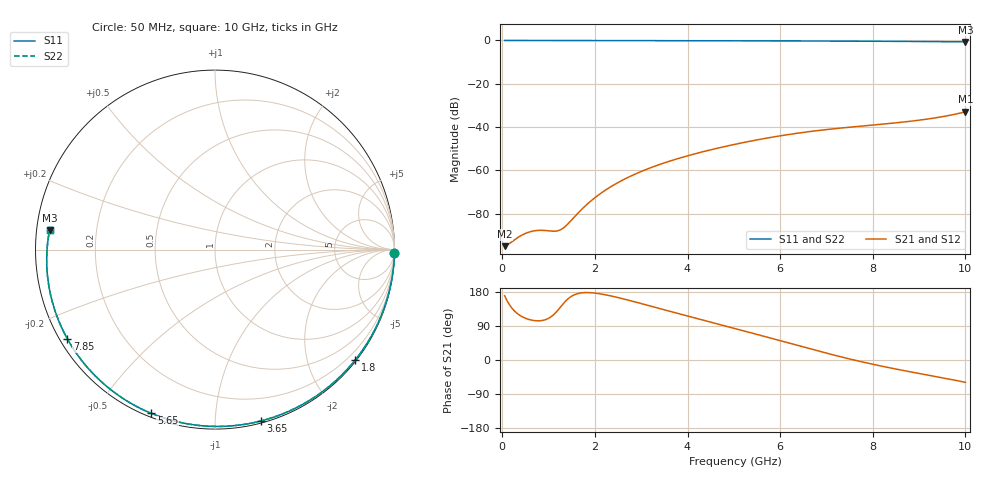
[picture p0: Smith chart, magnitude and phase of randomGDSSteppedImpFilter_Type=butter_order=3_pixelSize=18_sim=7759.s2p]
! freq	dB(S11)	phase(S11)	dB(S12)	phase(S12)
!  dB(S21)	phase(S21)	dB(S22)	phase(S22)
!S-par simulation data
#  GHz  S  DB  R 50
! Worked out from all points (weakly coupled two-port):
!   200 points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, 50 MHz to 10 GHz, reference 50 ohm
!   highest |S21| = -32.93 dB at 10 GHz (marker M1); lowest = -95.0 dB at 50 MHz (marker M2)
!   lowest |S11| = -0.7 dB at 10 GHz (marker M3), VSWR 26.68, Z = 1.88 + j2.96 ohm
!   |S11| at or under -10 dB: nowhere
!   |S22| runs from -0.7 to 0.0 dB; largest |S21 - S12| = 0
!   S11 on the Smith chart (normalised r, x): 50 MHz: open; 1.8 GHz: 0.03, -2.89; 3.65 GHz: 0.02, -1.30; 5.65 GHz: 0.02, -0.68; 7.85 GHz: 0.02, -0.28; 10 GHz: 0.04, +0.06
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0.05  -0.00 -1.1  -94.95 169.6  -94.95 169.6  -0.00 -1.1
0.8  -0.02 -17.2  -87.64 103.4  -87.64 103.4  -0.02 -17.2
1.6  -0.04 -34.1  -80.48 174.1  -80.48 174.1  -0.04 -34.1
1.65  -0.04 -35.1  -79.35 175.8  -79.35 175.8  -0.04 -35.1
1.75  -0.05 -37.2  -77.22 177.6  -77.22 177.6  -0.05 -37.2
1.8  -0.05 -38.2  -76.21 177.9  -76.21 177.9  -0.05 -38.2
1.95  -0.05 -41.3  -73.43 177.2  -73.43 177.2  -0.05 -41.3
2.15  -0.06 -45.4  -70.21 173.8  -70.21 173.8  -0.06 -45.4
2.5  -0.07 -52.5  -65.58 164.7  -65.58 164.7  -0.07 -52.5
2.9  -0.08 -60.4  -61.38 152.2  -61.38 152.2  -0.08 -60.5
3.4  -0.09 -70.2  -57.22 135.7  -57.22 135.7  -0.09 -70.2
3.65  -0.10 -74.9  -55.46 127.5  -55.46 127.5  -0.10 -75.0
4.35  -0.13 -88.0  -51.27 104.7  -51.27 104.7  -0.13 -88.1
5.05  -0.15 -100.7  -47.82 82.2  -47.82 82.2  -0.15 -100.7
5.65  -0.18 -111.3  -45.30 62.5  -45.30 62.5  -0.18 -111.3
6.7  -0.25 -129.3  -41.88 27.7  -41.88 27.7  -0.25 -129.4
7.3  -0.30 -139.5  -40.46 8.7  -40.46 8.7  -0.30 -139.6
7.85  -0.34 -148.9  -39.34 -7.2  -39.34 -7.2  -0.34 -148.9
8.35  -0.40 -157.4  -38.35 -20.2  -38.35 -20.2  -0.40 -157.5
8.85  -0.46 -166.1  -37.20 -32.1  -37.20 -32.1  -0.46 -166.2
9.3  -0.52 -174.1  -35.91 -42.2  -35.91 -42.2  -0.52 -174.1
10  -0.65 173.2  -32.93 -59.1  -32.93 -59.1  -0.65 173.1
